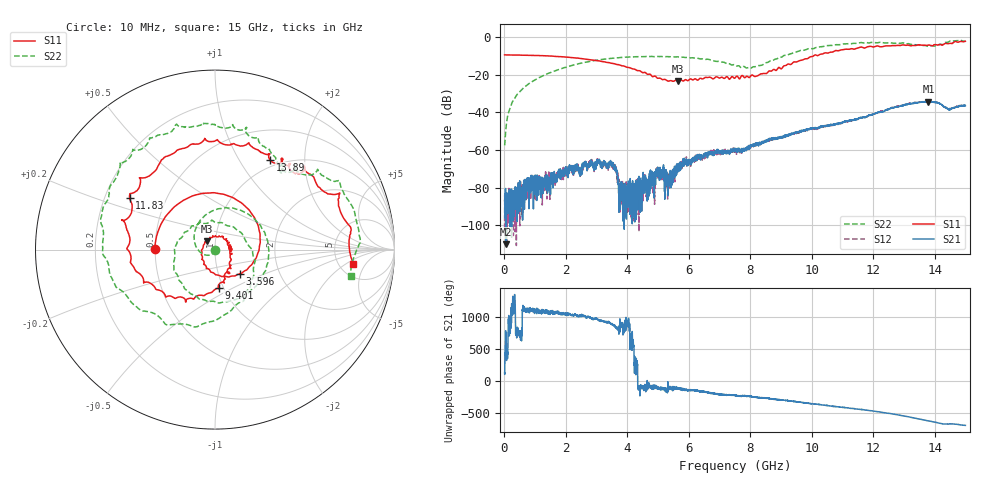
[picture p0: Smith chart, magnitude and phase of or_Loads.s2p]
!	Fieldfox Controller
!	Chapman University - Class ENG398
!	Introduction to RF - DMG (2024)
!Created with skrf (http://scikit-rf.org).
# Hz S RI R 50.0
!freq ReS11 ImS11 ReS21 ImS21 ReS12 ImS12 ReS22 ImS22
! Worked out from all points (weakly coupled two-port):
!   4001 points, 10 MHz to 15 GHz, reference 50 ohm
!   highest |S21| = -34.31 dB at 13.8 GHz (marker M1); lowest = -110.1 dB at 58.72 MHz (marker M2)
!   lowest |S11| = -23.6 dB at 5.661 GHz (marker M3), VSWR 1.14, Z = 45.4 + j4.32 ohm
!   |S11| at or under -10 dB: 1.414 GHz to 10.06 GHz (8.644 GHz wide, 151 % of centre)
!   |S22| runs from -57.6 to -1.8 dB; largest |S21 - S12| = 0.0011
!   S11 on the Smith chart (normalised r, x): 10 MHz: 0.50, +0.00; 3.596 GHz: 1.27, -0.36; 9.401 GHz: 0.95, -0.42; 11.83 GHz: 0.31, +0.25; 13.89 GHz: 0.90, +1.37; 15 GHz: 6.82, -2.65
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1e7  -0.336 0.00431  -2.96e-05 3.37e-05  2.6e-06 7.48e-06  -0.0012 -0.000558
5.87175e7  -0.3342 0.0236  -1.16e-06 -2.89e-06  7.06e-06 3.32e-05  -0.00178 -0.00369
2.385975e8  -0.3212 0.09  -3.18e-06 3.56e-06  1.2e-07 5.12e-05  -0.0059 -0.0161
6.283375e8  -0.2488 0.2147  8.34e-05 2.07e-05  3.56e-05 4.02e-05  -0.0318 -0.0312
2.509582e9  0.2469 0.1029  0.000186 -0.00029  0.000266 -0.000249  -0.0444 0.1981
3.596358e9  0.1383 -0.1354  -0.000315 0.000228  -0.000262 0.000208  0.2147 0.1753
3.74251e9  0.1071 -0.147  -2.78e-05 4.2e-05  2.25e-05 7.17e-06  0.2432 0.1449
3.914895e9  0.07 -0.1518  -2.54e-05 8.34e-05  2.5e-05 -4.67e-05  0.2716 0.1038
5.009165e9  -0.0727 -0.0339  -0.000172 -0.000256  -5.04e-05 -0.000262  0.2118 -0.2162
5.353935e9  -0.0658 0.0154  -3.25e-05 -0.000147  -3.24e-05 -0.000137  0.1138 -0.2782
5.66123e9  -0.0464 0.0475  -0.000138 -0.000291  -0.000199 -0.000339  0.0162 -0.2963
7.505e9  0.0807 0.0138  -0.000612 0.000697  -0.000694 0.000717  -0.121 0.1323
8.606765e9  0.0873 -0.0886  0.000142 0.00181  0.000256 0.00183  0.2159 -0.046
9.401235e9  0.0196 -0.2135  0.00203 0.0018  0.00206 0.00173  0.0276 -0.3791
1.000458e10  -0.1266 -0.2728  0.0037 1.13e-05  0.00361 0.000184  -0.2948 -0.3908
1.081404e10  -0.3973 -0.1812  0.00352 -0.00349  0.00341 -0.00336  -0.6272 -0.00813
1.182962e10  -0.4753 0.2867  -0.00169 -0.0078  -0.00145 -0.00785  -0.4215 0.5556
1.250416e10  -0.2674 0.5205  -0.0103 -0.00619  -0.0104 -0.00621  -0.0608 0.7024
1.379705e10  0.3028 0.5323  -0.000718 0.0192  -0.000482 0.0192  0.366 0.4337
1.389449e10  0.3062 0.5005  0.00196 0.0187  0.00174 0.0188  0.3801 0.45
1.452032e10  0.5554 0.3907  0.00856 0.00865  0.00888 0.00909  0.6922 0.3849
1.5e10  0.7707 -0.0777  0.014 0.00552  0.0144 0.00525  0.756 -0.1492
